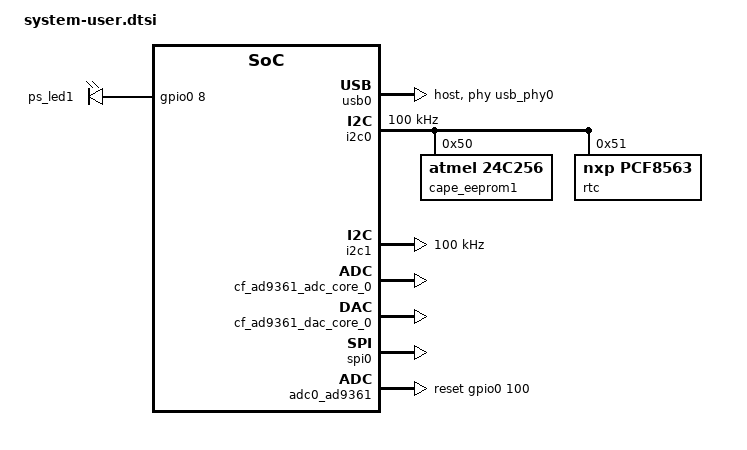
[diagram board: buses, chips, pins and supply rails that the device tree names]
/include/ "system-conf.dtsi"
#include <dt-bindings/gpio/gpio.h>
#include <dt-bindings/input/input.h>
#include <dt-bindings/media/xilinx-vip.h>
#include <dt-bindings/phy/phy.h>
/ {
	chosen {
	    //bootargs = "earlycon console=ttyPS0,115200 clk_ignore_unused root=/dev/nfs nfsroot=192.168.1.1:/home/rk/zynq/7020/fmc_ad9361_7020/nfs,nfsvers=3 ip=192.168.1.100:192.168.1.1:192.168.1.1:255.255.255.0::eth0:off rw";
		//bootargs = "earlycon console=ttyPS0,115200 root=/dev/mmcblk1p2 ip=192.168.1.100:192.168.1.1:192.168.1.1:255.255.255.0::eth0:off rw";
	};

	usb_phy0: usb_phy@0 {
		compatible = "ulpi-phy";
		#phy-cells = <0>;
		reg = <0xe0002000 0x1000>;
		view-port = <0x0170>;
		drv-vbus;
	};

    leds {
        compatible = "gpio-leds";
        
        led0 { //ps_led1
            label = "ps_led1";
            gpios = <&gpio0 8 GPIO_ACTIVE_HIGH>;
            linux,default-trigger = "heartbeat";
        };
    };
};
&flash0 {
	compatible = "w25q256", "spi-flash";
	#address-cells = <1>;
	#size-cells = <1>;
	reg = <0x0>;
	spi-tx-bus-width = <4>;
	spi-rx-bus-width = <4>;

};
&usb0 {	
	dr_mode = "host";
	usb-phy = <&usb_phy0>;
};
&i2c0 {
	clock-frequency = <100000>;
	
	cape_eeprom1: cape_eeprom1@50 {
		compatible = "atmel,24c256";
		reg = <0x50>;
		#address-cells = <1>;
		#size-cells = <1>;
		cape1_data: cape_data@0 {
			reg = <0 0x100>;
		};
	};

	rtc@51 {
		compatible = "nxp,pcf8563";
		reg = <0x51>;
	};
};
&i2c1 {
	clock-frequency = <100000>;
};
&amba_pl {
	rx_dma: dma@43c10000 {
		compatible = "adi,axi-dmac-1.00.a";
		#dma-cells = <1>;
		#clock-cells = <0>;

		clock-names = "s_axi_aclk", "m_dest_axi_aclk", "m_sg_axi_aclk", "fifo_wr_clk";
		clocks = <&clkc 15>, <&clkc 15>, <&clkc 15>, <&misc_clk_0>;
		interrupt-names = "irq";
		interrupt-parent = <&intc>;
		interrupts = <0 29 4>;
		reg = <0x43c10000 0x10000>;

		adi,channels {
			#size-cells = <0>;
			#address-cells = <1>;

			dma-channel@0 {
				reg = <0>;
				adi,source-bus-width = <64>;
				adi,source-bus-type = <2>;
				adi,destination-bus-width = <64>;
				adi,destination-bus-type = <0>;
			};
		};
	};

	tx_dma: dma@43c20000 {
		compatible = "adi,axi-dmac-1.00.a";
		#dma-cells = <1>;
		#clock-cells = <0>;
		
		clock-names = "s_axi_aclk", "m_src_axi_aclk", "m_sg_axi_aclk", "m_axis_aclk";
		clocks = <&clkc 15>, <&clkc 15>, <&clkc 15>, <&misc_clk_0>;
		interrupt-names = "irq";
		interrupt-parent = <&intc>;
		interrupts = <0 30 4>;
		reg = <0x43c20000 0x10000>;

		adi,channels {
			#size-cells = <0>;
			#address-cells = <1>;

			dma-channel@0 {
				reg = <0>;
				adi,source-bus-width = <64>;
				adi,source-bus-type = <0>;
				adi,destination-bus-width = <64>;
				adi,destination-bus-type = <2>;
			};
		};
	};

	cf_ad9361_adc_core_0: cf-ad9361-lpc@43c00000 {
		compatible = "adi,axi-ad9361-6.00.a";
		reg = <0x43c00000 0x6000>;
		dmas = <&rx_dma 0>;
		dma-names = "rx";

		spibus-connected = <&adc0_ad9361>;
	};

	cf_ad9361_dac_core_0: cf-ad9361-dds-core-lpc@43c04000 {
		compatible = "adi,axi-ad9361-dds-6.00.a";
		reg = <0x43c04000 0x1000>;
		clocks = <&adc0_ad9361 13>;
		clock-names = "sampl_clk";
		dmas = <&tx_dma 0>;
		dma-names = "tx";
	};
};

&spi0 {
	status = "okay";
};

#define fmc_spi spi0
#define fmc_i2c i2c1

#include "adi-fmcomms2.dtsi"

&adc0_ad9361 {
	en_agc-gpios = <&gpio0 98 0>;
	sync-gpios = <&gpio0 99 0>;
	reset-gpios = <&gpio0 100 0>;
	enable-gpios = <&gpio0 101 0>;
	txnrx-gpios = <&gpio0 102 0>;
};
